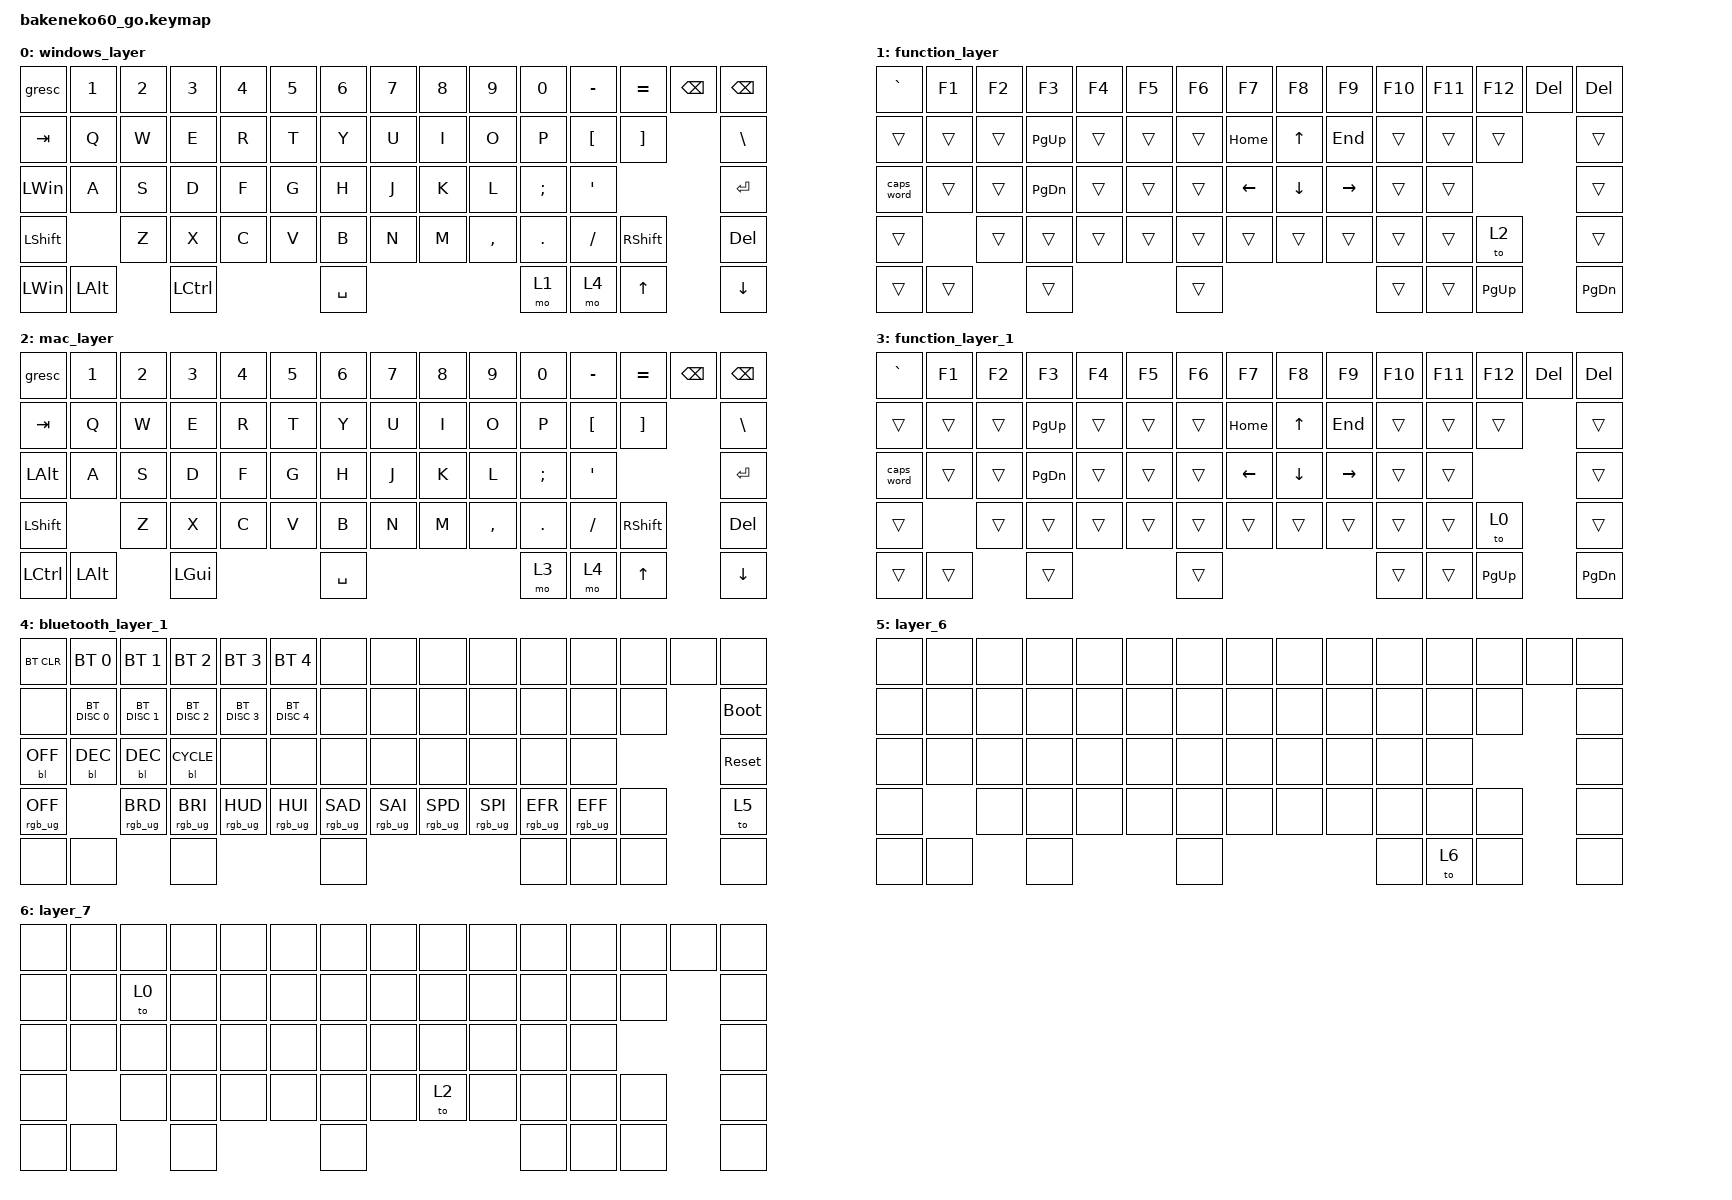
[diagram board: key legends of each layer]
/*
 * Copyright (c) 2023 Andrew Kannan
 *
 * SPDX-License-Identifier: MIT
 */

#include <behaviors.dtsi>
#include <dt-bindings/zmk/backlight.h>
#include <dt-bindings/zmk/bt.h>
#include <dt-bindings/zmk/keys.h>
#include <dt-bindings/zmk/rgb.h>

/ {
    keymap {
        compatible = "zmk,keymap";

        windows_layer {
            // ------------------------------------------------------------------------------------------
            // | ESC |  1  |  2  |  3  |  4  |  5  |  6  |  7  |  8  |  9  |  0  |  -  |  =  | BKSP|BKSP|
            // | TAB  |  Q  |  W  |  E  |  R  |  T  |  Y  |  U  |  I  |  O  |  P  |  [  |  ]  |   "|"   |
            // | CAPS  |  A  |  S  |  D  |  F  |  G  |  H  |  J  |  K  |  L  |  ;  |  '  |     ENTER    |
            // |  SHIFT  |  Z  |  X  |  C  |  V  |  B  |  N  |  M  |  ,  |  .  |  /  |  SHIFT  | MO(1)  |
            // |  CTL  |  WIN  |  ALT  |            SPACE              |  ALT  |  WIN  |  MO(1) |  CTL  |
            // ------------------------------------------------------------------------------------------

            bindings = <
&gresc        &kp N1        &kp N2  &kp N3     &kp N4  &kp N5  &kp N6     &kp N7  &kp N8  &kp N9     &kp N0    &kp MINUS  &kp EQUAL     &kp BSPC  &kp BSPC
&kp TAB       &kp Q         &kp W   &kp E      &kp R   &kp T   &kp Y      &kp U   &kp I   &kp O      &kp P     &kp LBKT   &kp RBKT                &kp BSLH
&kp LEFT_WIN  &kp A         &kp S   &kp D      &kp F   &kp G   &kp H      &kp J   &kp K   &kp L      &kp SEMI  &kp SQT                            &kp RET
&kp LSHFT                   &kp Z   &kp X      &kp C   &kp V   &kp B      &kp N   &kp M   &kp COMMA  &kp DOT   &kp FSLH   &kp RSHFT               &kp DEL
&kp LEFT_WIN  &kp LEFT_ALT          &kp LCTRL                  &kp SPACE                             &mo 1     &mo 4      &kp UP_ARROW            &kp DOWN_ARROW
            >;
        };

        function_layer {
            // ------------------------------------------------------------------------------------------------
            // |    `   | F1  | F2  | F3  | F4  | F5  | F6  | F7  | F8  | F9  | F10  | F11 | F12 |     | DEL  |
            // | EFCT REV|   |  UP |   | HUEUP | SATUP | BRIUP | SPDUP |      |  PGUP |    |     |    |       |
            // | EFCT FWD | LT |  DN  | RT | HUEDN | SATDN | BRIDN | SPDDN | HOME | PGDN | END  |  | BOOTLDR  |
            // |             |     |      |      |     |     |     |     |     |     |     |         |        |
            // |         |      |      |             TOG RGB                | PRT SCR |       |       |  MO(2)|
            // ------------------------------------------------------------------------------------------------

            bindings = <
&kp GRAVE   &kp F1  &kp F2  &kp F3         &kp F4  &kp F5  &kp F6  &kp F7          &kp F8        &kp F9     &kp F10  &kp F11  &kp F12    &kp DEL  &kp DEL
&trans      &trans  &trans  &kp PG_UP      &trans  &trans  &trans  &kp HOME        &kp UP_ARROW  &kp END    &trans   &trans   &trans              &trans
&caps_word  &trans  &trans  &kp PAGE_DOWN  &trans  &trans  &trans  &kp LEFT_ARROW  &kp DOWN      &kp RIGHT  &trans   &trans                       &trans
&trans              &trans  &trans         &trans  &trans  &trans  &trans          &trans        &trans     &trans   &trans   &to 2               &trans
&trans      &trans          &trans                         &trans                                           &trans   &trans   &kp PG_UP           &kp PG_DN
            >;
        };

        mac_layer {
            bindings = <
&gresc        &kp N1    &kp N2  &kp N3    &kp N4  &kp N5  &kp N6     &kp N7  &kp N8  &kp N9     &kp N0    &kp MINUS  &kp EQUAL  &kp BSPC  &kp BACKSPACE
&kp TAB       &kp Q     &kp W   &kp E     &kp R   &kp T   &kp Y      &kp U   &kp I   &kp O      &kp P     &kp LBKT   &kp RBKT             &kp BSLH
&kp LEFT_ALT  &kp A     &kp S   &kp D     &kp F   &kp G   &kp H      &kp J   &kp K   &kp L      &kp SEMI  &kp APOS                        &kp ENTER
&kp LSHFT               &kp Z   &kp X     &kp C   &kp V   &kp B      &kp N   &kp M   &kp COMMA  &kp DOT   &kp FSLH   &kp RSHFT            &kp DEL
&kp LCTRL     &kp LALT          &kp LGUI                  &kp SPACE                             &mo 3     &mo 4      &kp UP               &kp DOWN_ARROW
            >;
        };

        function_layer_1 {
            bindings = <
&kp GRAVE   &kp F1  &kp F2  &kp F3         &kp F4  &kp F5  &kp F6  &kp F7          &kp F8        &kp F9     &kp F10  &kp F11  &kp F12    &kp DEL  &kp DEL
&trans      &trans  &trans  &kp PG_UP      &trans  &trans  &trans  &kp HOME        &kp UP_ARROW  &kp END    &trans   &trans   &trans              &trans
&caps_word  &trans  &trans  &kp PAGE_DOWN  &trans  &trans  &trans  &kp LEFT_ARROW  &kp DOWN      &kp RIGHT  &trans   &trans                       &trans
&trans              &trans  &trans         &trans  &trans  &trans  &trans          &trans        &trans     &trans   &trans   &to 0               &trans
&trans      &trans          &trans                         &trans                                           &trans   &trans   &kp PG_UP           &kp PG_DN
            >;
        };

        bluetooth_layer_1 {
            bindings = <
&bt BT_CLR       &bt BT_SEL 0   &bt BT_SEL 1     &bt BT_SEL 2     &bt BT_SEL 3     &bt BT_SEL 4     &none            &none            &none            &none            &none            &none            &none  &none  &none
&none            &bt BT_DISC 0  &bt BT_DISC 1    &bt BT_DISC 2    &bt BT_DISC 3    &bt BT_DISC 4    &none            &none            &none            &none            &none            &none            &none         &bootloader
&bl BL_OFF       &bl BL_DEC     &bl BL_DEC       &bl BL_CYCLE     &none            &none            &none            &none            &none            &none            &none            &none                          &sys_reset
&rgb_ug RGB_OFF                 &rgb_ug RGB_BRD  &rgb_ug RGB_BRI  &rgb_ug RGB_HUD  &rgb_ug RGB_HUI  &rgb_ug RGB_SAD  &rgb_ug RGB_SAI  &rgb_ug RGB_SPD  &rgb_ug RGB_SPI  &rgb_ug RGB_EFR  &rgb_ug RGB_EFF  &none         &to 5
&none            &none                           &none                                              &none                                                               &none            &none            &none         &none
            >;
        };

        layer_6 {
            bindings = <
&none  &none  &none  &none  &none  &none  &none  &none  &none  &none  &none  &none  &none  &none  &none
&none  &none  &none  &none  &none  &none  &none  &none  &none  &none  &none  &none  &none         &none
&none  &none  &none  &none  &none  &none  &none  &none  &none  &none  &none  &none                &none
&none         &none  &none  &none  &none  &none  &none  &none  &none  &none  &none  &none         &none
&none  &none         &none                &none                       &none  &to 6  &none         &none
            >;
        };

        layer_7 {
            bindings = <
&none  &none  &none  &none  &none  &none  &none  &none  &none  &none  &none  &none  &none  &none  &none
&none  &none  &to 0  &none  &none  &none  &none  &none  &none  &none  &none  &none  &none         &none
&none  &none  &none  &none  &none  &none  &none  &none  &none  &none  &none  &none                &none
&none         &none  &none  &none  &none  &none  &none  &to 2  &none  &none  &none  &none         &none
&none  &none         &none                &none                       &none  &none  &none         &none
            >;
        };
    };

    combos {
        compatible = "zmk,combos";

        combo_bt {
            timeout-ms = <50>;
            key-positions = <61 62>;
            bindings = <&mo 0>;
        };
    };
};
